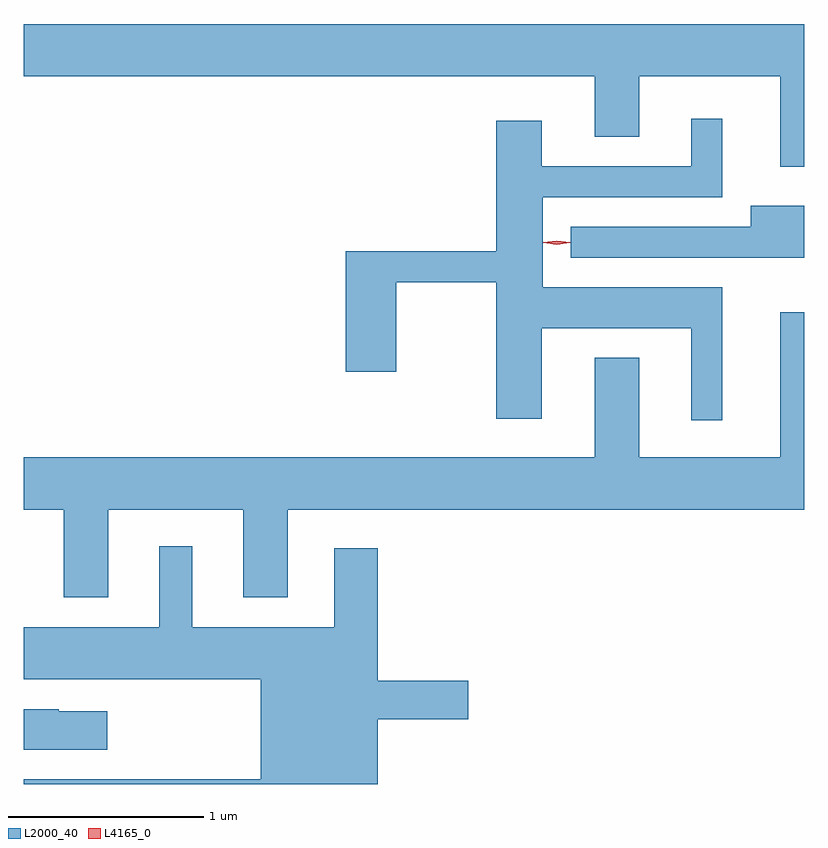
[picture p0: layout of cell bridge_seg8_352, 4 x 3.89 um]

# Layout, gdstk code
import gdstk
lib = gdstk.Library(unit=1e-6, precision=1e-09)
def P(c, l, *ps):  # polygons
    for p in ps: c.add(gdstk.Polygon(p, *l))
L2000_40 = (2000, 40)
L4165_0 = (4165, 0)

bridge_seg8_352 = lib.new_cell('bridge_seg8_352')
P(bridge_seg8_352, L2000_40, [(824.415,1938.804),(820.415,1938.804),(820.415,1938.536),(823.341,1938.536),(823.341,1938.226),(823.569,1938.226),(823.569,1938.536),(824.291,1938.536),(824.291,1938.073),(824.415,1938.073)],
  [(823.994,1937.454),(823.074,1937.454),(823.074,1937.916),(823.994,1937.916),(823.994,1938.318),(823.836,1938.318),(823.836,1938.074),(823.069,1938.074),(823.069,1938.309),(822.836,1938.309),(822.836,1937.639),(822.066,1937.639),(822.066,1937.021),(822.324,1937.021),(822.324,1937.481),(822.836,1937.481),(822.836,1936.781),(823.069,1936.781),(823.069,1937.246),(823.836,1937.246),(823.836,1936.773),(823.994,1936.773)],
  [(824.415,1937.874),(824.141,1937.874),(824.141,1937.764),(823.218,1937.764),(823.218,1937.606),(824.415,1937.606)],
  [(820.415,1936.316),(820.621,1936.316),(820.621,1935.866),(820.849,1935.866),(820.849,1936.316),(821.541,1936.316),(821.541,1935.866),(821.769,1935.866),(821.769,1936.316),(824.415,1936.316),(824.415,1937.328),(824.291,1937.328),(824.291,1936.584),(823.569,1936.584),(823.569,1937.094),(823.341,1937.094),(823.341,1936.584),(820.415,1936.584)],
  [(822.229,1935.241),(822.694,1935.241),(822.694,1935.439),(822.229,1935.439),(822.229,1936.119),(822.006,1936.119),(822.006,1935.714),(821.279,1935.714),(821.279,1936.128),(821.111,1936.128),(821.111,1935.714),(820.415,1935.714),(820.415,1935.446),(821.631,1935.446),(821.631,1934.934),(820.415,1934.934),(820.415,1934.91),(822.229,1934.91)],
  [(820.844,1935.284),(820.595,1935.284),(820.595,1935.294),(820.415,1935.294),(820.415,1935.086),(820.844,1935.086)])
P(bridge_seg8_352, L4165_0, [(823.147,1937.674),(823.082,1937.684),(823.081,1937.684),(823.082,1937.685),(823.147,1937.694),(823.212,1937.685),(823.213,1937.684),(823.212,1937.684)],
  [(823.147,1937.674),(823.077,1937.684),(823.077,1937.684),(823.077,1937.685),(823.147,1937.694),(823.216,1937.685),(823.216,1937.684),(823.216,1937.684)])

lib.write_gds('bridge_seg8_352.gds')
